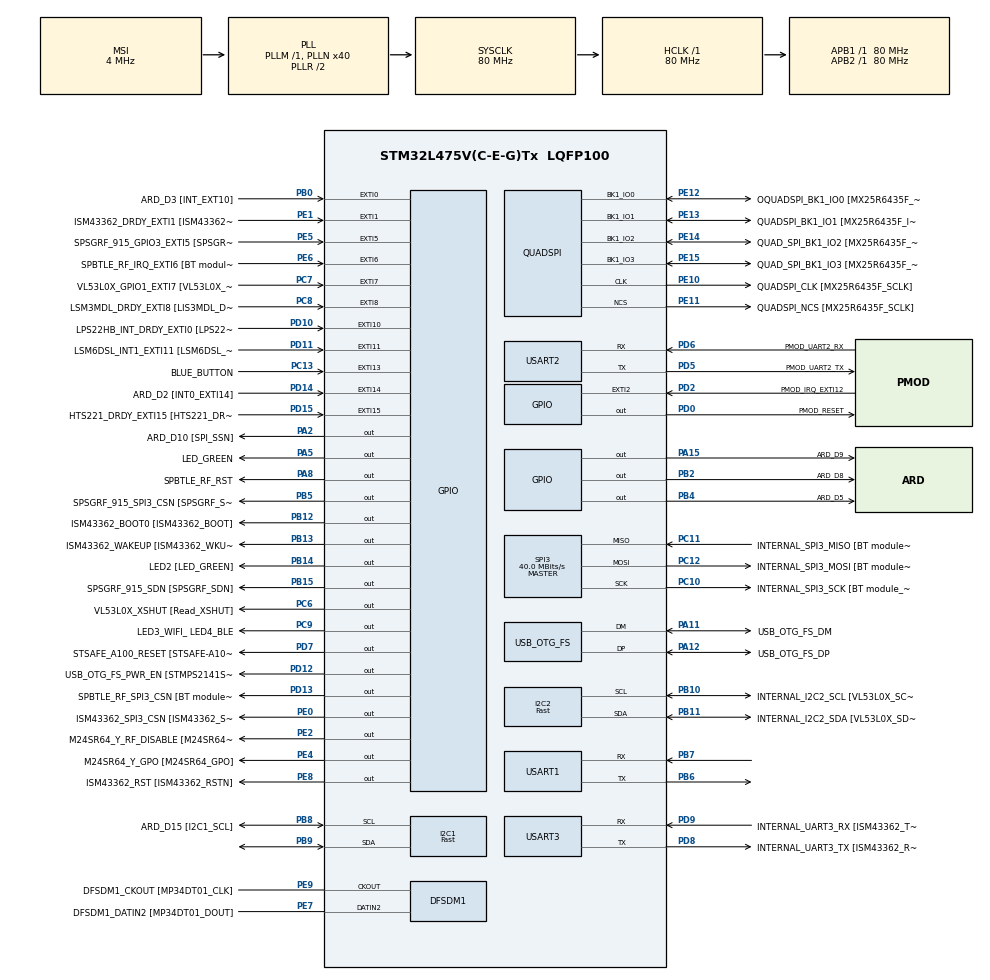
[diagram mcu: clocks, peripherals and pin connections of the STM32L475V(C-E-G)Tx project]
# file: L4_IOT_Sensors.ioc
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I2C1.I2C_Speed_Mode=I2C_Fast
I2C1.Timing=0x00702991
I2C2.I2C_Speed_Mode=I2C_Fast
I2C2.Timing=0x00702991
Mcu.Family=STM32L4
Mcu.Name=STM32L475V(C-E-G)Tx
Mcu.Package=LQFP100
NVIC.EXTI15_10_IRQn=true\:0\:0\:false\:false\:true\:true\:true\:true
NVIC.EXTI9_5_IRQn=true\:0\:0\:false\:false\:true\:true\:true\:true
NVIC.PriorityGroup=NVIC_PRIORITYGROUP_4
PA0.GPIO_Label=ARD_D1 [UART4_TX]
PA0.Signal=UART4_TX
PA1.GPIO_Label=ARD_D0 [UART4_RX]
PA1.Signal=UART4_RX
PA10.GPIO_Label=USB_OTG_FS_ID
PA10.Signal=USB_OTG_FS_ID
PA11.GPIO_Label=USB_OTG_FS_DM
PA11.Mode=Device_Only
PA11.Signal=USB_OTG_FS_DM
PA12.GPIO_Label=USB_OTG_FS_DP
PA12.Mode=Device_Only
PA12.Signal=USB_OTG_FS_DP
PA13\ (JTMS-SWDIO).Mode=Serial_Wire
PA13\ (JTMS-SWDIO).Signal=SYS_JTMS-SWDIO
PA14\ (JTCK-SWCLK).Mode=Serial_Wire
PA14\ (JTCK-SWCLK).Signal=SYS_JTCK-SWCLK
PA15\ (JTDI).GPIO_Label=ARD_D9
PA15\ (JTDI).Signal=GPIO_Output
PA2.GPIO_Label=ARD_D10 [SPI_SSN]
PA2.Signal=GPIO_Output
PA3.GPIO_Label=ARD_D4
PA3.Signal=S_TIM2_CH4
PA4.GPIO_Label=ARD_D7
PA4.Signal=ADCx_IN9
PA5.GPIO_Label=LED_GREEN
PA5.Signal=GPIO_Output
PA6.GPIO_Label=ARD_D12 [SPI1_MISO]
PA6.Signal=SPI1_MISO
PA7.GPIO_Label=ARD_D11 [SPI1_MOSI]
PA7.Signal=SPI1_MOSI
PA8.GPIO_Label=SPBTLE_RF_RST
PA8.Signal=GPIO_Output
PA9.GPIO_Label=USB_OTG_FS_VBUS [STMPS2141STR_OUT]
PA9.Signal=USB_OTG_FS_VBUS
PB0.GPIO_Label=ARD_D3 [INT_EXT10]
PB0.Signal=GPXTI0
PB1.GPIO_Label=ARD_D6 [ADC1_IN6]
PB1.Signal=ADCx_IN16
PB10.GPIO_Label=INTERNAL_I2C2_SCL [VL53L0X_SCL]
PB10.GPIO_Pu=GPIO_PULLUP
PB10.Mode=I2C
PB10.Signal=I2C2_SCL
PB11.GPIO_Label=INTERNAL_I2C2_SDA [VL53L0X_SDA]
PB11.GPIO_Pu=GPIO_PULLUP
PB11.Mode=I2C
PB11.Signal=I2C2_SDA
PB12.GPIO_Label=ISM43362_BOOT0 [ISM43362_BOOT]
PB12.Signal=GPIO_Output
PB13.GPIO_Label=ISM43362_WAKEUP [ISM43362_WKUP]
PB13.Signal=GPIO_Output
PB14.GPIO_Label=LED2 [LED_GREEN]
PB14.Signal=GPIO_Output
PB15.GPIO_Label=SPSGRF_915_SDN [SPSGRF_SDN]
PB15.Signal=GPIO_Output
PB2.GPIO_Label=ARD_D8
PB2.Signal=GPIO_Output
PB4\ (NJTRST).GPIO_Label=ARD_D5
PB4\ (NJTRST).Signal=GPIO_Output
PB5.GPIO_Label=SPSGRF_915_SPI3_CSN [SPSGRF_SPI_CS]
PB5.PinState=GPIO_PIN_SET
PB5.Signal=GPIO_Output
PB6.Mode=Asynchronous
PB6.Signal=USART1_TX
PB7.Mode=Asynchronous
PB7.Signal=USART1_RX
PB8.GPIO_Label=ARD_D15 [I2C1_SCL]
PB8.Mode=I2C
PB8.Signal=I2C1_SCL
PB9.Mode=I2C
PB9.Signal=I2C1_SDA
PC0.GPIO_Label=ARD_A5 [ADC]
PC0.Signal=ADCx_IN1
PC1.GPIO_Label=ARD_A4 [ADC]
PC1.Signal=ADCx_IN2
PC10.GPIO_Label=INTERNAL_SPI3_SCK [BT module_SPI_SCLK] [ISM43362_SCK]
PC10.Mode=Full_Duplex_Master
PC10.Signal=SPI3_SCK
PC11.GPIO_Label=INTERNAL_SPI3_MISO [BT module_SPI_MISO] [ISM43362_MISO]
PC11.Mode=Full_Duplex_Master
PC11.Signal=SPI3_MISO
PC12.GPIO_Label=INTERNAL_SPI3_MOSI [BT module_SPI_MOSI] [ISM43362_MOSI]
PC12.Mode=Full_Duplex_Master
PC12.Signal=SPI3_MOSI
PC13.GPIO_Label=BLUE_BUTTON
PC13.GPIO_ModeDefaultEXTI=GPIO_MODE_IT_FALLING
PC13.GPIO_PuPd=GPIO_PULLUP
PC13.Signal=GPXTI13
PC14-OSC32_IN\ (PC14).Mode=LSE-External-Oscillator
PC14-OSC32_IN\ (PC14).Signal=RCC_OSC32_IN
PC15-OSC32_OUT\ (PC15).Mode=LSE-External-Oscillator
PC15-OSC32_OUT\ (PC15).Signal=RCC_OSC32_OUT
PC2.GPIO_Label=ARD_A3 [ADC]
PC2.Signal=ADCx_IN3
PC3.GPIO_Label=ARD_A2 [ADC]
PC3.Signal=ADCx_IN4
PC4.GPIO_Label=ARD_A1 [ADC]
PC4.Signal=ADCx_IN13
PC5.GPIO_Label=ARD_A0 [ADC]
PC5.Signal=ADCx_IN14
PC6.GPIO_Label=VL53L0X_XSHUT [Read_XSHUT]
PC6.Signal=GPIO_Output
PC7.GPIO_Label=VL53L0X_GPIO1_EXTI7 [VL53L0X_GPIO1]
PC7.Signal=GPXTI7
PC8.GPIO_Label=LSM3MDL_DRDY_EXTI8 [LIS3MDL_DRDY]
PC8.Signal=GPXTI8
PC9.GPIO_Label=LED3_WIFI_ LED4_BLE
PC9.Signal=GPIO_Output
PD0.GPIO_Label=PMOD_RESET
PD0.Signal=GPIO_Output
PD1.GPIO_Label=PMOD_SPI2_SCK
PD1.Signal=SPI2_SCK
PD10.GPIO_Label=LPS22HB_INT_DRDY_EXTI0 [LPS22HB_INT_DRDY] 
PD10.Signal=GPXTI10
PD11.GPIO_Label=LSM6DSL_INT1_EXTI11 [LSM6DSL_INT1]
PD11.Signal=GPXTI11
PD12.GPIO_Label=USB_OTG_FS_PWR_EN [STMPS2141STR_EN]
PD12.Signal=GPIO_Output
PD13.GPIO_Label=SPBTLE_RF_SPI3_CSN [BT module_SPI_CS]
PD13.PinState=GPIO_PIN_SET
PD13.Signal=GPIO_Output
PD14.GPIO_Label=ARD_D2 [INT0_EXTI14]
PD14.Signal=GPXTI14
PD15.GPIO_Label=HTS221_DRDY_EXTI15 [HTS221_DRDY]
PD15.Signal=GPXTI15
PD2.GPIO_Label=PMOD_IRQ_EXTI12
PD2.Signal=GPXTI2
PD3.GPIO_Label=PMOD_UART2_CTS
PD3.Signal=USART2_CTS
PD4.GPIO_Label=PMOD_UART2_RTS
PD4.Signal=USART2_RTS
PD5.GPIO_Label=PMOD_UART2_TX
PD5.Mode=Asynchronous
PD5.Signal=USART2_TX
PD6.GPIO_Label=PMOD_UART2_RX
PD6.Mode=Asynchronous
PD6.Signal=USART2_RX
PD7.GPIO_Label=STSAFE_A100_RESET [STSAFE-A100_RESET]
PD7.Signal=GPIO_Output
PD8.GPIO_Label=INTERNAL_UART3_TX [ISM43362_RX]
PD8.Mode=Asynchronous
PD8.Signal=USART3_TX
PD9.GPIO_Label=INTERNAL_UART3_RX [ISM43362_TX]
PD9.Mode=Asynchronous
PD9.Signal=USART3_RX
PE0.GPIO_Label=ISM43362_SPI3_CSN [ISM43362_SSN]
PE0.PinState=GPIO_PIN_SET
PE0.Signal=GPIO_Output
PE1.GPIO_Label=ISM43362_DRDY_EXTI1 [ISM43362_DATARDY]
PE1.Signal=GPXTI1
PE10.GPIO_Label=QUADSPI_CLK [MX25R6435F_SCLK]
PE10.Mode=Single Bank
PE10.Signal=QUADSPI_CLK
PE11.GPIO_Label=QUADSPI_NCS [MX25R6435F_SCLK]
PE11.Mode=Single Bank
PE11.Signal=QUADSPI_NCS
PE12.GPIO_Label=OQUADSPI_BK1_IO0 [MX25R6435F_IO0]
PE12.Mode=Single Bank
PE12.Signal=QUADSPI_BK1_IO0
PE13.GPIO_Label=QUADSPI_BK1_IO1 [MX25R6435F_IO1]
PE13.Mode=Single Bank
PE13.Signal=QUADSPI_BK1_IO1
PE14.GPIO_Label=QUAD_SPI_BK1_IO2 [MX25R6435F_IO2]
PE14.Mode=Single Bank
PE14.Signal=QUADSPI_BK1_IO2
PE15.GPIO_Label=QUAD_SPI_BK1_IO3 [MX25R6435F_IO3]
PE15.Mode=Single Bank
PE15.Signal=QUADSPI_BK1_IO3
PE2.GPIO_Label=M24SR64_Y_RF_DISABLE [M24SR64_RFDIS]
PE2.Signal=GPIO_Output
PE4.GPIO_Label=M24SR64_Y_GPO [M24SR64_GPO]
PE4.Signal=GPIO_Output
PE5.GPIO_Label=SPSGRF_915_GPIO3_EXTI5 [SPSGRF_GPIO_3]
PE5.Signal=GPXTI5
PE6.GPIO_Label=SPBTLE_RF_IRQ_EXTI6 [BT module_SPI_IRQ]
PE6.Signal=GPXTI6
PE7.GPIO_Label=DFSDM1_DATIN2 [MP34DT01_DOUT]
PE7.Signal=S_DATAIN2DFSDM1
PE8.GPIO_Label=ISM43362_RST [ISM43362_RSTN]
PE8.Signal=GPIO_Output
PE9.GPIO_Label=DFSDM1_CKOUT [MP34DT01_CLK]
PE9.Signal=S_CKOUTDFSDM1
ProjectManager.HeapSize=0x200
ProjectManager.StackSize=0x400
ProjectManager.TargetToolchain=STM32CubeIDE
QUADSPI.ClockPrescaler=2
QUADSPI.FifoThreshold=4
QUADSPI.FlashSize=23
QUADSPI.SampleShifting=QSPI_SAMPLE_SHIFTING_HALFCYCLE
RCC.ADCFreq_Value=48000000
RCC.AHBFreq_Value=80000000
RCC.APB1Freq_Value=80000000
RCC.APB1TimFreq_Value=80000000
RCC.APB2Freq_Value=80000000
RCC.APB2TimFreq_Value=80000000
RCC.CortexFreq_Value=80000000
RCC.HCLKFreq_Value=80000000
RCC.HSE_VALUE=8000000
RCC.HSI_VALUE=16000000
RCC.MSI_VALUE=4000000
RCC.PLLN=40
RCC.PLLSAI1N=24
RCC.SYSCLKFreq_VALUE=80000000
RCC.SYSCLKSource=RCC_SYSCLKSOURCE_PLLCLK
RCC.USBFreq_Value=48000000
RCC.VCOOutputFreq_Value=160000000
SH.ADCx_IN1.0=ADC1_IN1
SH.ADCx_IN13.0=ADC1_IN13
SH.ADCx_IN14.0=ADC1_IN14
SH.ADCx_IN16.0=ADC1_IN16
SH.ADCx_IN2.0=ADC1_IN2
SH.ADCx_IN3.0=ADC1_IN3
SH.ADCx_IN4.0=ADC1_IN4
SH.ADCx_IN9.0=ADC1_IN9
SH.S_CKOUTDFSDM1.0=DFSDM1_CKOUT,CKOUT
SH.S_CKOUTDFSDM1.1=DFSDM1_CKOUT,PDM_SPI_Input_from_ch12_and_Internal_Clock
SH.S_DATAIN2DFSDM1.0=DFSDM1_DATIN2,PDM_SPI_Input_from_ch12_and_Internal_Clock
SH.S_TIM2_CH4.0=TIM2_CH4
SPI3.CalculateBaudRate=40.0 MBits/s
SPI3.Direction=SPI_DIRECTION_2LINES
SPI3.Mode=SPI_MODE_MASTER
SPI3.VirtualType=VM_MASTER
USART1.VirtualMode-Asynchronous=VM_ASYNC
USART2.VirtualMode-Asynchronous=VM_ASYNC
USART3.VirtualMode-Asynchronous=VM_ASYNC
USB_OTG_FS.VirtualMode=Device_Only
board=B-L475E-IOT01A1

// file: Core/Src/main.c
/* USER CODE BEGIN Header */
/**
 ******************************************************************************
 * @file           : main.c
 * @brief          : Main program body
 ******************************************************************************
 * @attention
 *
 * Copyright (c) 2022 STMicroelectronics.
 * All rights reserved.
 *
 * This software is licensed under terms that can be found in the LICENSE file
 * in the root directory of this software component.
 * If no LICENSE file comes with this software, it is provided AS-IS.
 *
 ******************************************************************************
 */
/* USER CODE END Header */
#include "main.h"

/* USER CODE BEGIN Includes */

// Display oled I2C
#include "ssd1306.h"
#include "ssd1306_tests.h"

// Drivers
#include "stm32l475e_iot01.h"
#include <math.h>
#include <stdio.h>
#include "stdbool.h"

// Temperature sensor
#include "stm32l475e_iot01_tsensor.h"

// Accelerometer sensor
#include "stm32l475e_iot01_accelero.h"

// valor rms
#include "valorRMS.h"

/* USER CODE END Includes */

DFSDM_Channel_HandleTypeDef hdfsdm1_channel1;

I2C_HandleTypeDef hi2c1;
I2C_HandleTypeDef hi2c2;

QSPI_HandleTypeDef hqspi;

SPI_HandleTypeDef hspi3;

UART_HandleTypeDef huart1;
UART_HandleTypeDef huart2;
UART_HandleTypeDef huart3;

PCD_HandleTypeDef hpcd_USB_OTG_FS;

/* USER CODE BEGIN PV */

// Temperature sensor
float temp_value = 0;   // Measured temperature value
char str_tmp[100] = ""; // Formatted message to display the temperature value
char str_tmp2[100] = "";
char min_temp[10] = "";
char max_temp[10] = "";
char min_acx[10] = "";
char max_acx[10] = "";
char min_acy[10] = "";
char max_acy[10] = "";
char min_acz[10] = "";
char max_acz[10] = "";
char str_acx[100] = "";
char str_acy[100] = "";
char str_acz[100] = "";
uint8_t msg1[] = "****** Temperature values measurement ******\n\n\r";
uint8_t msg2[] = "=====> Initialize Temperature sensor HTS221 \r\n";
uint8_t msg3[] = "=====> Temperature sensor HTS221 initialized \r\n ";

// Accelerometer sensor
int16_t acelerometer_value[3] = {0}; // Measured gyroscope value
char str_acel1[100] = "";            // Formatted message to display the gyroscope value
char str_acel2[100] = "";            // Formatted message to display the gyroscope value
char str_acel3[100] = "";            // Formatted message to display the gyroscope value
uint8_t msg7[] = "****** Acelerometer values measurement ******\n\n\r";
uint8_t msg8[] = "=====> Initialize Acelerometer sensor HTS221 \r\n";
uint8_t msg9[] = "=====> Acelerometer sensor LSM6DSL initialized \r\n ";

// Interruptions

bool flag = false;
/* USER CODE END PV */

void SystemClock_Config(void);
static void MX_GPIO_Init(void);
static void MX_DFSDM1_Init(void);
static void MX_QUADSPI_Init(void);
static void MX_SPI3_Init(void);
static void MX_USART3_UART_Init(void);
static void MX_USB_OTG_FS_PCD_Init(void);
static void MX_I2C1_Init(void);
static void MX_USART1_UART_Init(void);
static void MX_I2C2_Init(void);
static void MX_USART2_UART_Init(void);

int main(void)
{

  /* MCU Configuration--------------------------------------------------------*/

  /* Reset of all peripherals, Initializes the Flash interface and the Systick. */
  HAL_Init();

  /* Configure the system clock */
  SystemClock_Config();

  /* Initialize all configured peripherals */
  MX_GPIO_Init();
  MX_DFSDM1_Init();
  MX_QUADSPI_Init();
  MX_SPI3_Init();
  MX_USART3_UART_Init();
  MX_USB_OTG_FS_PCD_Init();
  MX_I2C1_Init();
  MX_USART1_UART_Init();
  MX_I2C2_Init();
  MX_USART2_UART_Init();
  /* USER CODE BEGIN 2 */

  // Temperature Sensor
  HAL_UART_Transmit(&huart1, msg1, sizeof(msg1), 1000);
  HAL_UART_Transmit(&huart1, msg2, sizeof(msg2), 1000);
  BSP_TSENSOR_Init();
  HAL_UART_Transmit(&huart1, msg3, sizeof(msg3), 1000);

  // Accelerometer Sensor
  HAL_UART_Transmit(&huart1, msg7, sizeof(msg7), 1000);
  HAL_UART_Transmit(&huart1, msg8, sizeof(msg8), 1000);
  BSP_ACCELERO_Init();
  HAL_UART_Transmit(&huart1, msg9, sizeof(msg9), 1000);

  // Display oled i2c
  ssd1306_Init();

  /* USER CODE END 2 */

  /* Infinite loop */
  /* USER CODE BEGIN WHILE */

  float buf_temp[10] = {};
  float buf_ac[3][10] = {};
  int i = 0, j = 0;
  bool fullArray1 = false, fullArray2 = false;
  float new_temp = 0;
  float new_acX = 0;
  float new_acY = 0;
  float new_acZ = 0;

  while (1)
  {
	  float min = buf_temp[0], max = buf_temp[0];

    /* USER CODE END WHILE */

    /* USER CODE BEGIN 3 */
    // InterrupÃ§Ã£o

      // Temperature Sensor
      temp_value = BSP_TSENSOR_ReadTemp();
      int tmpInt1 = temp_value;
      float tmpFrac = temp_value - tmpInt1;
      int tmpInt2 = trunc(tmpFrac * 100);
     // snprintf(str_tmp, 100, " TEMPERATURE = %d.%02d\n\r", tmpInt1, tmpInt2);
     // HAL_UART_Transmit(&huart1, (uint8_t *)str_tmp, sizeof(str_tmp), 1000);
      if (flag == false){
      // Valores em RMS
      //  Criação do buffer de temperatura

      buf_temp[i] = temp_value;
      //float min = buf_temp[0], max = buf_temp[0];
      i++;

      if (fullArray1)
      {
        new_temp = valorRMS(buf_temp, 10);
      }
      else
      {
        new_temp = valorRMS(buf_temp, i);
      }
      if (i == 10)
      {
        i = 0;
        fullArray1 = true;
      }
      if (buf_temp[i] > max)
      {
        max = buf_temp[i];
      }
      if (buf_temp[i] < min)
      {
        min = buf_temp[i];
      }

      int min1 = min;
      float minFrac = min - min1;
      int min2 = trunc(minFrac * 100);

      int max1 = max;
      float maxFrac = max - max1;
      int max2 = trunc(maxFrac * 100);

      snprintf(str_tmp2, 100, "RMS = %d.%02d\n\r", tmpInt1, tmpInt2);
      snprintf(min_temp, 100, "MIN = %d.%02d\n\r", min1, min2);
      snprintf(max_temp, 100, "MAX = %d.%02d\n\r", max1, max2);
      HAL_UART_Transmit(&huart1, (uint8_t *)str_tmp2, sizeof(str_tmp2), 1000);
      HAL_UART_Transmit(&huart1, (uint8_t *)min_temp, sizeof(str_tmp2), 1000);
      HAL_UART_Transmit(&huart1, (uint8_t *)max_temp, sizeof(str_tmp2), 1000);

      // Accelerometer Sensor
      BSP_ACCELERO_AccGetXYZ(acelerometer_value);// se ligar nisso aqui. acelerometer_value já é inteiro
      int acelXInt1 = acelerometer_value[0];
      float acelXFrac = acelerometer_value[0] - acelXInt1;
      int acelXInt2 = trunc(acelXFrac * 100);

      int acelYInt1 = acelerometer_value[1];
      float acelYFrac = acelerometer_value[1] - acelYInt1;
      int acelYInt2 = trunc(acelYFrac * 100);

      int acelZInt1 = acelerometer_value[2];
      float acelZFrac = acelerometer_value[2] - acelZInt1;
      int acelZInt2 = trunc(acelZFrac * 100);

      snprintf(str_acel1, 100, " ACEL_X = %d.%02d\n\r", acelXInt1, acelXInt2);
      snprintf(str_acel2, 100, " ACEL_Y = %d.%02d\n\r", acelYInt1, acelYInt2);
      snprintf(str_acel3, 100, " ACEL_Z = %d.%02d\n\n\r", acelZInt1, acelZInt2);
      HAL_UART_Transmit(&huart1, (uint8_t *)str_acel1, sizeof(str_acel1), 1000);
      HAL_UART_Transmit(&huart1, (uint8_t *)str_acel2, sizeof(str_acel2), 1000);
      HAL_UART_Transmit(&huart1, (uint8_t *)str_acel3, sizeof(str_acel3), 1000);

      // CriaÃ§Ã£o do buffer do acelerometro x,y,z

      int min_ax = buf_ac[0][j], max_ax = buf_ac[0][j];
      int min_ay = buf_ac[1][j], max_ay = buf_ac[1][j];
      int min_az = buf_ac[2][j], max_az = buf_ac[2][j];

      buf_ac[0][j] = acelerometer_value[0];
      buf_ac[1][j] = acelerometer_value[1];
      buf_ac[2][j] = acelerometer_value[2];
      j++;

      if (fullArray2)
      {
        new_acX = valorRMS(buf_ac[0], 10);
        new_acY = valorRMS(buf_ac[1], 10);
        new_acZ = valorRMS(buf_ac[2], 10);
      }
      else
      {
        new_acX = valorRMS(buf_ac[0], j);
        new_acY = valorRMS(buf_ac[1], j);
        new_acZ = valorRMS(buf_ac[2], j);
      }

      if (j == 10)
      {
        j = 0;
        fullArray2 = true;
      }

      // min-max eixo x
      if (buf_ac[0][j] > max_ax){
        max_ax = buf_ac[0][j];
      }
      if (buf_ac[0][j] < min_ax){
        min_ax = buf_ac[0][j];
      }

      snprintf(min_acx, 100, "MIN=%d\n\r", min_ax);
      snprintf(max_acx, 100, "MAX=%d\n\r",max_ax);

      // min-max eixo y
      if (buf_ac[0][j] > max_ay){
    	  max_ay = buf_ac[0][j];
      }
      if (buf_ac[0][j] < min_ay){
    	  min_ay = buf_ac[0][j];
      }

      snprintf(min_acy, 100, "MIN=%d\n\r", min_ay);
      snprintf(max_acy, 100, "MAX=%d\n\r",max_ay);

      // min-max eixo y
      if (buf_ac[0][j] > max_ay){
    	  max_az = buf_ac[0][j];
      }
      if (buf_ac[0][j] < min_ay){
         min_az = buf_ac[0][j];
      }

      snprintf(min_acz, 100, "MIN=%d\n\r", min_az);
      snprintf(max_acz, 100, "MAX=%d\n\r",max_az);

      int acx = new_acX;
      float acxFrac = acx - new_acX;
      int rmsAcx = trunc(acxFrac * 100);

      int acy = new_acY;
      float acyFrac = acy - new_acY;
      int rmsAcy = trunc(acyFrac * 100);

      int acz = new_acZ;
      float aczFrac = acx - new_acX;
      int rmsAcz = trunc(aczFrac * 100);

      snprintf(str_acx, 100, " RMS_X = %d.%02d\n\n\r", acx, rmsAcx);
      snprintf(str_acy, 100, " RMS_Y = %d.%02d\n\n\r", acy, rmsAcy);
      snprintf(str_acz, 100, " RMS_Z = %d.%02d\n\n\r", acz, rmsAcz);

      // Display oled i2c

      ssd1306_Fill(White);
      ssd1306_SetCursor(0, 10);
      ssd1306_WriteString("TEMPERATURAbla", Font_6x8, Black);
      ssd1306_SetCursor(0, 20);
      ssd1306_WriteString(str_tmp2, Font_6x8, Black);
      ssd1306_SetCursor(0, 30);
      ssd1306_WriteString(min_temp, Font_6x8, Black);
      ssd1306_SetCursor(0, 40);
      ssd1306_WriteString(max_temp, Font_6x8, Black);
      ssd1306_UpdateScreen();
      HAL_Delay(2000);

      ssd1306_Fill(White);
      ssd1306_SetCursor(0, 10);
      ssd1306_WriteString("ACELERACAO X:", Font_6x8, Black);
      ssd1306_SetCursor(0, 20);
      ssd1306_WriteString(str_acx, Font_6x8, Black);
      ssd1306_SetCursor(0, 30);
      ssd1306_WriteString(min_acx, Font_6x8, Black);
      ssd1306_SetCursor(0, 40);
      ssd1306_WriteString(max_acx, Font_6x8, Black);
      ssd1306_UpdateScreen();
      HAL_Delay(2000);

      ssd1306_Fill(White);
      ssd1306_SetCursor(0, 10);
      ssd1306_WriteString("ACELERACAO Y:", Font_6x8, Black);
      ssd1306_SetCursor(0, 20);
      ssd1306_WriteString(str_acy, Font_6x8, Black);
      ssd1306_SetCursor(0, 30);
      ssd1306_WriteString(min_acy, Font_6x8, Black);
      ssd1306_SetCursor(0, 40);
      ssd1306_WriteString(max_acy, Font_6x8, Black);
      ssd1306_UpdateScreen();
      HAL_Delay(2000);

      ssd1306_Fill(White);
      ssd1306_SetCursor(0, 10);
      ssd1306_WriteString("ACELERACAO Z:", Font_6x8, Black);
      ssd1306_SetCursor(0, 20);
      ssd1306_WriteString(str_acz, Font_6x8, Black);
      ssd1306_SetCursor(0, 30);
      ssd1306_WriteString(min_acz, Font_6x8, Black);
      ssd1306_SetCursor(0, 40);
      ssd1306_WriteString(max_acz, Font_6x8, Black);
      ssd1306_UpdateScreen();
      HAL_Delay(2000);
    }
    else
    {

      temp_value = 0;
      tmpInt1 = 0;
      tmpInt2 = 0;
      snprintf(min_temp, 100, "MIN = %d.%02d\n\r", 0, 0);
      snprintf(max_temp, 100, "MAX = %d.%02d\n\r", 0, 0);
      snprintf(min_acx, 100, "MIN=%d\n\r", 0);
      snprintf(max_acx, 100, "MAX=%d\n\r",0);
      snprintf(min_acy, 100, "MIN=%d\n\r",0);
      snprintf(max_acy, 100, "MAX=%d\n\r",0);
      snprintf(min_acz, 100, "MIN=%d\n\r", 0);
      snprintf(max_acz, 100, "MAX=%d\n\r",0);

      ssd1306_Fill(White);
      ssd1306_SetCursor(0, 10);
      ssd1306_WriteString("TEMPERATURA", Font_6x8, Black);
      ssd1306_SetCursor(0, 20);
      ssd1306_WriteString(min_temp, Font_6x8, Black);
      ssd1306_SetCursor(0, 30);
      ssd1306_WriteString(max_temp, Font_6x8, Black);
      ssd1306_UpdateScreen();
      ssd1306_SetCursor(0, 10);
      ssd1306_WriteString("ACELERACAO X:", Font_6x8, Black);
      ssd1306_SetCursor(0, 20);
      ssd1306_WriteString(min_acx, Font_6x8, Black);
      ssd1306_SetCursor(0,30);
      ssd1306_WriteString(max_acx, Font_6x8, Black);
      HAL_Delay(2000);
      ssd1306_UpdateScreen();
      ssd1306_SetCursor(0, 10);
      ssd1306_WriteString("ACELERACAO Y:", Font_6x8, Black);
      ssd1306_SetCursor(0, 20);
      ssd1306_WriteString(min_acy, Font_6x8, Black);
      ssd1306_SetCursor(0, 30);
      ssd1306_WriteString(max_acy, Font_6x8, Black);
      HAL_Delay(2000);
      ssd1306_UpdateScreen();
      ssd1306_SetCursor(0, 10);
      ssd1306_WriteString("ACELERACAO Z:", Font_6x8, Black);
      ssd1306_SetCursor(0, 20);
      ssd1306_WriteString(min_acz, Font_6x8, Black);
      ssd1306_SetCursor(0, 30);
      ssd1306_WriteString(max_acz, Font_6x8, Black);
      HAL_Delay(2000);
      ssd1306_UpdateScreen();
    }
  }
}
  /* USER CODE END 3 */

void SystemClock_Config(void)
{
  RCC_OscInitTypeDef RCC_OscInitStruct = {0};
  RCC_ClkInitTypeDef RCC_ClkInitStruct = {0};

  /** Configure the main internal regulator output voltage
  */
  if (HAL_PWREx_ControlVoltageScaling(PWR_REGULATOR_VOLTAGE_SCALE1) != HAL_OK)
  {
    Error_Handler();
  }

  /** Configure LSE Drive Capability
  */
  HAL_PWR_EnableBkUpAccess();
  __HAL_RCC_LSEDRIVE_CONFIG(RCC_LSEDRIVE_LOW);

  /** Initializes the RCC Oscillators according to the specified parameters
  * in the RCC_OscInitTypeDef structure.
  */
  RCC_OscInitStruct.OscillatorType = RCC_OSCILLATORTYPE_LSE|RCC_OSCILLATORTYPE_MSI;
  RCC_OscInitStruct.LSEState = RCC_LSE_ON;
  RCC_OscInitStruct.MSIState = RCC_MSI_ON;
  RCC_OscInitStruct.MSICalibrationValue = 0;
  RCC_OscInitStruct.MSIClockRange = RCC_MSIRANGE_6;
  RCC_OscInitStruct.PLL.PLLState = RCC_PLL_ON;
  RCC_OscInitStruct.PLL.PLLSource = RCC_PLLSOURCE_MSI;
  RCC_OscInitStruct.PLL.PLLM = 1;
  RCC_OscInitStruct.PLL.PLLN = 40;
  RCC_OscInitStruct.PLL.PLLP = RCC_PLLP_DIV7;
  RCC_OscInitStruct.PLL.PLLQ = RCC_PLLQ_DIV2;
  RCC_OscInitStruct.PLL.PLLR = RCC_PLLR_DIV2;
  if (HAL_RCC_OscConfig(&RCC_OscInitStruct) != HAL_OK)
  {
    Error_Handler();
  }

  /** Initializes the CPU, AHB and APB buses clocks
  */
  RCC_ClkInitStruct.ClockType = RCC_CLOCKTYPE_HCLK|RCC_CLOCKTYPE_SYSCLK
                              |RCC_CLOCKTYPE_PCLK1|RCC_CLOCKTYPE_PCLK2;
  RCC_ClkInitStruct.SYSCLKSource = RCC_SYSCLKSOURCE_PLLCLK;
  RCC_ClkInitStruct.AHBCLKDivider = RCC_SYSCLK_DIV1;
  RCC_ClkInitStruct.APB1CLKDivider = RCC_HCLK_DIV1;
  RCC_ClkInitStruct.APB2CLKDivider = RCC_HCLK_DIV1;

  if (HAL_RCC_ClockConfig(&RCC_ClkInitStruct, FLASH_LATENCY_4) != HAL_OK)
  {
    Error_Handler();
  }

  /** Enable MSI Auto calibration
  */
  HAL_RCCEx_EnableMSIPLLMode();
}

static void MX_DFSDM1_Init(void)
{

  hdfsdm1_channel1.Instance = DFSDM1_Channel1;
  hdfsdm1_channel1.Init.OutputClock.Activation = ENABLE;
  hdfsdm1_channel1.Init.OutputClock.Selection = DFSDM_CHANNEL_OUTPUT_CLOCK_SYSTEM;
  hdfsdm1_channel1.Init.OutputClock.Divider = 2;
  hdfsdm1_channel1.Init.Input.Multiplexer = DFSDM_CHANNEL_EXTERNAL_INPUTS;
  hdfsdm1_channel1.Init.Input.DataPacking = DFSDM_CHANNEL_STANDARD_MODE;
  hdfsdm1_channel1.Init.Input.Pins = DFSDM_CHANNEL_FOLLOWING_CHANNEL_PINS;
  hdfsdm1_channel1.Init.SerialInterface.Type = DFSDM_CHANNEL_SPI_RISING;
  hdfsdm1_channel1.Init.SerialInterface.SpiClock = DFSDM_CHANNEL_SPI_CLOCK_INTERNAL;
  hdfsdm1_channel1.Init.Awd.FilterOrder = DFSDM_CHANNEL_FASTSINC_ORDER;
  hdfsdm1_channel1.Init.Awd.Oversampling = 1;
  hdfsdm1_channel1.Init.Offset = 0;
  hdfsdm1_channel1.Init.RightBitShift = 0x00;
  if (HAL_DFSDM_ChannelInit(&hdfsdm1_channel1) != HAL_OK)
  {
    Error_Handler();
  }

}

static void MX_I2C1_Init(void)
{

  hi2c1.Instance = I2C1;
  hi2c1.Init.Timing = 0x00702991;
  hi2c1.Init.OwnAddress1 = 0;
  hi2c1.Init.AddressingMode = I2C_ADDRESSINGMODE_7BIT;
  hi2c1.Init.DualAddressMode = I2C_DUALADDRESS_DISABLE;
  hi2c1.Init.OwnAddress2 = 0;
  hi2c1.Init.OwnAddress2Masks = I2C_OA2_NOMASK;
  hi2c1.Init.GeneralCallMode = I2C_GENERALCALL_DISABLE;
  hi2c1.Init.NoStretchMode = I2C_NOSTRETCH_DISABLE;
  if (HAL_I2C_Init(&hi2c1) != HAL_OK)
  {
    Error_Handler();
  }

  /** Configure Analogue filter
  */
  if (HAL_I2CEx_ConfigAnalogFilter(&hi2c1, I2C_ANALOGFILTER_ENABLE) != HAL_OK)
  {
    Error_Handler();
  }

  /** Configure Digital filter
  */
  if (HAL_I2CEx_ConfigDigitalFilter(&hi2c1, 0) != HAL_OK)
  {
    Error_Handler();
  }

}

static void MX_I2C2_Init(void)
{

  hi2c2.Instance = I2C2;
  hi2c2.Init.Timing = 0x00702991;
  hi2c2.Init.OwnAddress1 = 0;
  hi2c2.Init.AddressingMode = I2C_ADDRESSINGMODE_7BIT;
  hi2c2.Init.DualAddressMode = I2C_DUALADDRESS_DISABLE;
  hi2c2.Init.OwnAddress2 = 0;
  hi2c2.Init.OwnAddress2Masks = I2C_OA2_NOMASK;
  hi2c2.Init.GeneralCallMode = I2C_GENERALCALL_DISABLE;
  hi2c2.Init.NoStretchMode = I2C_NOSTRETCH_DISABLE;
  if (HAL_I2C_Init(&hi2c2) != HAL_OK)
  {
    Error_Handler();
  }

  /** Configure Analogue filter
  */
  if (HAL_I2CEx_ConfigAnalogFilter(&hi2c2, I2C_ANALOGFILTER_ENABLE) != HAL_OK)
  {
    Error_Handler();
  }

  /** Configure Digital filter
  */
  if (HAL_I2CEx_ConfigDigitalFilter(&hi2c2, 0) != HAL_OK)
  {
    Error_Handler();
  }

}

static void MX_QUADSPI_Init(void)
{

  /* QUADSPI parameter configuration*/
  hqspi.Instance = QUADSPI;
  hqspi.Init.ClockPrescaler = 2;
  hqspi.Init.FifoThreshold = 4;
  hqspi.Init.SampleShifting = QSPI_SAMPLE_SHIFTING_HALFCYCLE;
  hqspi.Init.FlashSize = 23;
  hqspi.Init.ChipSelectHighTime = QSPI_CS_HIGH_TIME_1_CYCLE;
  hqspi.Init.ClockMode = QSPI_CLOCK_MODE_0;
  if (HAL_QSPI_Init(&hqspi) != HAL_OK)
  {
    Error_Handler();
  }

}

static void MX_SPI3_Init(void)
{

  /* SPI3 parameter configuration*/
  hspi3.Instance = SPI3;
  hspi3.Init.Mode = SPI_MODE_MASTER;
  hspi3.Init.Direction = SPI_DIRECTION_2LINES;
  hspi3.Init.DataSize = SPI_DATASIZE_4BIT;
  hspi3.Init.CLKPolarity = SPI_POLARITY_LOW;
  hspi3.Init.CLKPhase = SPI_PHASE_1EDGE;
  hspi3.Init.NSS = SPI_NSS_SOFT;
  hspi3.Init.BaudRatePrescaler = SPI_BAUDRATEPRESCALER_2;
  hspi3.Init.FirstBit = SPI_FIRSTBIT_MSB;
  hspi3.Init.TIMode = SPI_TIMODE_DISABLE;
  hspi3.Init.CRCCalculation = SPI_CRCCALCULATION_DISABLE;
  hspi3.Init.CRCPolynomial = 7;
  hspi3.Init.CRCLength = SPI_CRC_LENGTH_DATASIZE;
  hspi3.Init.NSSPMode = SPI_NSS_PULSE_ENABLE;
  if (HAL_SPI_Init(&hspi3) != HAL_OK)
  {
    Error_Handler();
  }

}

static void MX_USART1_UART_Init(void)
{

  huart1.Instance = USART1;
  huart1.Init.BaudRate = 115200;
  huart1.Init.WordLength = UART_WORDLENGTH_8B;
  huart1.Init.StopBits = UART_STOPBITS_1;
  huart1.Init.Parity = UART_PARITY_NONE;
  huart1.Init.Mode = UART_MODE_TX_RX;
  huart1.Init.HwFlowCtl = UART_HWCONTROL_NONE;
  huart1.Init.OverSampling = UART_OVERSAMPLING_16;
  huart1.Init.OneBitSampling = UART_ONE_BIT_SAMPLE_DISABLE;
  huart1.AdvancedInit.AdvFeatureInit = UART_ADVFEATURE_NO_INIT;
  if (HAL_UART_Init(&huart1) != HAL_OK)
  {
    Error_Handler();
  }

}

static void MX_USART2_UART_Init(void)
{

  huart2.Instance = USART2;
  huart2.Init.BaudRate = 115200;
  huart2.Init.WordLength = UART_WORDLENGTH_8B;
  huart2.Init.StopBits = UART_STOPBITS_1;
  huart2.Init.Parity = UART_PARITY_NONE;
  huart2.Init.Mode = UART_MODE_TX_RX;
  huart2.Init.HwFlowCtl = UART_HWCONTROL_NONE;
  huart2.Init.OverSampling = UART_OVERSAMPLING_16;
  huart2.Init.OneBitSampling = UART_ONE_BIT_SAMPLE_DISABLE;
  huart2.AdvancedInit.AdvFeatureInit = UART_ADVFEATURE_NO_INIT;
  if (HAL_UART_Init(&huart2) != HAL_OK)
  {
    Error_Handler();
  }

}

static void MX_USART3_UART_Init(void)
{

  huart3.Instance = USART3;
  huart3.Init.BaudRate = 115200;
  huart3.Init.WordLength = UART_WORDLENGTH_8B;
  huart3.Init.StopBits = UART_STOPBITS_1;
  huart3.Init.Parity = UART_PARITY_NONE;
  huart3.Init.Mode = UART_MODE_TX_RX;
  huart3.Init.HwFlowCtl = UART_HWCONTROL_NONE;
  huart3.Init.OverSampling = UART_OVERSAMPLING_16;
  huart3.Init.OneBitSampling = UART_ONE_BIT_SAMPLE_DISABLE;
  huart3.AdvancedInit.AdvFeatureInit = UART_ADVFEATURE_NO_INIT;
  if (HAL_UART_Init(&huart3) != HAL_OK)
  {
    Error_Handler();
  }

}

static void MX_USB_OTG_FS_PCD_Init(void)
{

  hpcd_USB_OTG_FS.Instance = USB_OTG_FS;
  hpcd_USB_OTG_FS.Init.dev_endpoints = 6;
  hpcd_USB_OTG_FS.Init.speed = PCD_SPEED_FULL;
  hpcd_USB_OTG_FS.Init.phy_itface = PCD_PHY_EMBEDDED;
  hpcd_USB_OTG_FS.Init.Sof_enable = DISABLE;
  hpcd_USB_OTG_FS.Init.low_power_enable = DISABLE;
  hpcd_USB_OTG_FS.Init.lpm_enable = DISABLE;
  hpcd_USB_OTG_FS.Init.battery_charging_enable = DISABLE;
  hpcd_USB_OTG_FS.Init.use_dedicated_ep1 = DISABLE;
  hpcd_USB_OTG_FS.Init.vbus_sensing_enable = DISABLE;
  if (HAL_PCD_Init(&hpcd_USB_OTG_FS) != HAL_OK)
  {
    Error_Handler();
  }

}

static void MX_GPIO_Init(void)
{
  GPIO_InitTypeDef GPIO_InitStruct = {0};

  /* GPIO Ports Clock Enable */
  __HAL_RCC_GPIOE_CLK_ENABLE();
  __HAL_RCC_GPIOC_CLK_ENABLE();
  __HAL_RCC_GPIOA_CLK_ENABLE();
  __HAL_RCC_GPIOB_CLK_ENABLE();
  __HAL_RCC_GPIOD_CLK_ENABLE();

  /*Configure GPIO pin Output Level */
  HAL_GPIO_WritePin(GPIOE, M24SR64_Y_RF_DISABLE_Pin|M24SR64_Y_GPO_Pin|ISM43362_RST_Pin, GPIO_PIN_RESET);

  /*Configure GPIO pin Output Level */
  HAL_GPIO_WritePin(GPIOA, ARD_D10_Pin|LED_GREEN_Pin|SPBTLE_RF_RST_Pin|ARD_D9_Pin, GPIO_PIN_RESET);

  /*Configure GPIO pin Output Level */
  HAL_GPIO_WritePin(GPIOB, ARD_D8_Pin|ISM43362_BOOT0_Pin|ISM43362_WAKEUP_Pin|LED2_Pin
                          |SPSGRF_915_SDN_Pin|ARD_D5_Pin, GPIO_PIN_RESET);

  /*Configure GPIO pin Output Level */
  HAL_GPIO_WritePin(GPIOD, USB_OTG_FS_PWR_EN_Pin|PMOD_RESET_Pin|STSAFE_A100_RESET_Pin, GPIO_PIN_RESET);

  /*Configure GPIO pin Output Level */
  HAL_GPIO_WritePin(SPBTLE_RF_SPI3_CSN_GPIO_Port, SPBTLE_RF_SPI3_CSN_Pin, GPIO_PIN_SET);

  /*Configure GPIO pin Output Level */
  HAL_GPIO_WritePin(GPIOC, VL53L0X_XSHUT_Pin|LED3_WIFI__LED4_BLE_Pin, GPIO_PIN_RESET);

  /*Configure GPIO pin Output Level */
  HAL_GPIO_WritePin(SPSGRF_915_SPI3_CSN_GPIO_Port, SPSGRF_915_SPI3_CSN_Pin, GPIO_PIN_SET);

  /*Configure GPIO pin Output Level */
  HAL_GPIO_WritePin(ISM43362_SPI3_CSN_GPIO_Port, ISM43362_SPI3_CSN_Pin, GPIO_PIN_SET);

  /*Configure GPIO pins : M24SR64_Y_RF_DISABLE_Pin M24SR64_Y_GPO_Pin ISM43362_RST_Pin ISM43362_SPI3_CSN_Pin */
  GPIO_InitStruct.Pin = M24SR64_Y_RF_DISABLE_Pin|M24SR64_Y_GPO_Pin|ISM43362_RST_Pin|ISM43362_SPI3_CSN_Pin;
  GPIO_InitStruct.Mode = GPIO_MODE_OUTPUT_PP;
  GPIO_InitStruct.Pull = GPIO_NOPULL;
  GPIO_InitStruct.Speed = GPIO_SPEED_FREQ_LOW;
  HAL_GPIO_Init(GPIOE, &GPIO_InitStruct);

  /*Configure GPIO pins : SPSGRF_915_GPIO3_EXTI5_Pin SPBTLE_RF_IRQ_EXTI6_Pin ISM43362_DRDY_EXTI1_Pin */
  GPIO_InitStruct.Pin = SPSGRF_915_GPIO3_EXTI5_Pin|SPBTLE_RF_IRQ_EXTI6_Pin|ISM43362_DRDY_EXTI1_Pin;
  GPIO_InitStruct.Mode = GPIO_MODE_IT_RISING;
  GPIO_InitStruct.Pull = GPIO_NOPULL;
  HAL_GPIO_Init(GPIOE, &GPIO_InitStruct);

  /*Configure GPIO pin : BLUE_BUTTON_Pin */
  GPIO_InitStruct.Pin = BLUE_BUTTON_Pin;
  GPIO_InitStruct.Mode = GPIO_MODE_IT_FALLING;
  GPIO_InitStruct.Pull = GPIO_PULLUP;
  HAL_GPIO_Init(BLUE_BUTTON_GPIO_Port, &GPIO_InitStruct);

  /*Configure GPIO pins : ARD_A5_Pin ARD_A4_Pin ARD_A3_Pin ARD_A2_Pin
                           ARD_A1_Pin ARD_A0_Pin */
  GPIO_InitStruct.Pin = ARD_A5_Pin|ARD_A4_Pin|ARD_A3_Pin|ARD_A2_Pin
                          |ARD_A1_Pin|ARD_A0_Pin;
  GPIO_InitStruct.Mode = GPIO_MODE_ANALOG_ADC_CONTROL;
  GPIO_InitStruct.Pull = GPIO_NOPULL;
  HAL_GPIO_Init(GPIOC, &GPIO_InitStruct);

  /*Configure GPIO pins : ARD_D1_Pin ARD_D0_Pin */
  GPIO_InitStruct.Pin = ARD_D1_Pin|ARD_D0_Pin;
  GPIO_InitStruct.Mode = GPIO_MODE_AF_PP;
  GPIO_InitStruct.Pull = GPIO_NOPULL;
  GPIO_InitStruct.Speed = GPIO_SPEED_FREQ_VERY_HIGH;
  GPIO_InitStruct.Alternate = GPIO_AF8_UART4;
  HAL_GPIO_Init(GPIOA, &GPIO_InitStruct);

  /*Configure GPIO pins : ARD_D10_Pin LED_GREEN_Pin SPBTLE_RF_RST_Pin ARD_D9_Pin */
  GPIO_InitStruct.Pin = ARD_D10_Pin|LED_GREEN_Pin|SPBTLE_RF_RST_Pin|ARD_D9_Pin;
  GPIO_InitStruct.Mode = GPIO_MODE_OUTPUT_PP;
  GPIO_InitStruct.Pull = GPIO_NOPULL;
  GPIO_InitStruct.Speed = GPIO_SPEED_FREQ_LOW;
  HAL_GPIO_Init(GPIOA, &GPIO_InitStruct);

  /*Configure GPIO pin : ARD_D4_Pin */
  GPIO_InitStruct.Pin = ARD_D4_Pin;
  GPIO_InitStruct.Mode = GPIO_MODE_AF_PP;
  GPIO_InitStruct.Pull = GPIO_NOPULL;
  GPIO_InitStruct.Speed = GPIO_SPEED_FREQ_LOW;
  GPIO_InitStruct.Alternate = GPIO_AF1_TIM2;
  HAL_GPIO_Init(ARD_D4_GPIO_Port, &GPIO_InitStruct);

  /*Configure GPIO pin : ARD_D7_Pin */
  GPIO_InitStruct.Pin = ARD_D7_Pin;
  GPIO_InitStruct.Mode = GPIO_MODE_ANALOG_ADC_CONTROL;
  GPIO_InitStruct.Pull = GPIO_NOPULL;
  HAL_GPIO_Init(ARD_D7_GPIO_Port, &GPIO_InitStruct);

  /*Configure GPIO pins : ARD_D12_Pin ARD_D11_Pin */
  GPIO_InitStruct.Pin = ARD_D12_Pin|ARD_D11_Pin;
  GPIO_InitStruct.Mode = GPIO_MODE_AF_PP;
  GPIO_InitStruct.Pull = GPIO_NOPULL;
  GPIO_InitStruct.Speed = GPIO_SPEED_FREQ_VERY_HIGH;
  GPIO_InitStruct.Alternate = GPIO_AF5_SPI1;
  HAL_GPIO_Init(GPIOA, &GPIO_InitStruct);

  /*Configure GPIO pin : ARD_D3_Pin */
  GPIO_InitStruct.Pin = ARD_D3_Pin;
  GPIO_InitStruct.Mode = GPIO_MODE_IT_RISING;
  GPIO_InitStruct.Pull = GPIO_NOPULL;
  HAL_GPIO_Init(ARD_D3_GPIO_Port, &GPIO_InitStruct);

  /*Configure GPIO pin : ARD_D6_Pin */
  GPIO_InitStruct.Pin = ARD_D6_Pin;
  GPIO_InitStruct.Mode = GPIO_MODE_ANALOG_ADC_CONTROL;
  GPIO_InitStruct.Pull = GPIO_NOPULL;
  HAL_GPIO_Init(ARD_D6_GPIO_Port, &GPIO_InitStruct);

  /*Configure GPIO pins : ARD_D8_Pin ISM43362_BOOT0_Pin ISM43362_WAKEUP_Pin LED2_Pin
                           SPSGRF_915_SDN_Pin ARD_D5_Pin SPSGRF_915_SPI3_CSN_Pin */
  GPIO_InitStruct.Pin = ARD_D8_Pin|ISM43362_BOOT0_Pin|ISM43362_WAKEUP_Pin|LED2_Pin
                          |SPSGRF_915_SDN_Pin|ARD_D5_Pin|SPSGRF_915_SPI3_CSN_Pin;
  GPIO_InitStruct.Mode = GPIO_MODE_OUTPUT_PP;
  GPIO_InitStruct.Pull = GPIO_NOPULL;
  GPIO_InitStruct.Speed = GPIO_SPEED_FREQ_LOW;
  HAL_GPIO_Init(GPIOB, &GPIO_InitStruct);

  /*Configure GPIO pins : LPS22HB_INT_DRDY_EXTI0_Pin LSM6DSL_INT1_EXTI11_Pin ARD_D2_Pin HTS221_DRDY_EXTI15_Pin
                           PMOD_IRQ_EXTI12_Pin */
  GPIO_InitStruct.Pin = LPS22HB_INT_DRDY_EXTI0_Pin|LSM6DSL_INT1_EXTI11_Pin|ARD_D2_Pin|HTS221_DRDY_EXTI15_Pin
                          |PMOD_IRQ_EXTI12_Pin;
  GPIO_InitStruct.Mode = GPIO_MODE_IT_RISING;
  GPIO_InitStruct.Pull = GPIO_NOPULL;
  HAL_GPIO_Init(GPIOD, &GPIO_InitStruct);

  /*Configure GPIO pins : USB_OTG_FS_PWR_EN_Pin SPBTLE_RF_SPI3_CSN_Pin PMOD_RESET_Pin STSAFE_A100_RESET_Pin */
  GPIO_InitStruct.Pin = USB_OTG_FS_PWR_EN_Pin|SPBTLE_RF_SPI3_CSN_Pin|PMOD_RESET_Pin|STSAFE_A100_RESET_Pin;
  GPIO_InitStruct.Mode = GPIO_MODE_OUTPUT_PP;
  GPIO_InitStruct.Pull = GPIO_NOPULL;
  GPIO_InitStruct.Speed = GPIO_SPEED_FREQ_LOW;
  HAL_GPIO_Init(GPIOD, &GPIO_InitStruct);

  /*Configure GPIO pins : VL53L0X_XSHUT_Pin LED3_WIFI__LED4_BLE_Pin */
  GPIO_InitStruct.Pin = VL53L0X_XSHUT_Pin|LED3_WIFI__LED4_BLE_Pin;
  GPIO_InitStruct.Mode = GPIO_MODE_OUTPUT_PP;
  GPIO_InitStruct.Pull = GPIO_NOPULL;
  GPIO_InitStruct.Speed = GPIO_SPEED_FREQ_LOW;
  HAL_GPIO_Init(GPIOC, &GPIO_InitStruct);

  /*Configure GPIO pins : VL53L0X_GPIO1_EXTI7_Pin LSM3MDL_DRDY_EXTI8_Pin */
  GPIO_InitStruct.Pin = VL53L0X_GPIO1_EXTI7_Pin|LSM3MDL_DRDY_EXTI8_Pin;
  GPIO_InitStruct.Mode = GPIO_MODE_IT_RISING;
  GPIO_InitStruct.Pull = GPIO_NOPULL;
  HAL_GPIO_Init(GPIOC, &GPIO_InitStruct);

  /*Configure GPIO pin : PMOD_SPI2_SCK_Pin */
  GPIO_InitStruct.Pin = PMOD_SPI2_SCK_Pin;
  GPIO_InitStruct.Mode = GPIO_MODE_AF_PP;
  GPIO_InitStruct.Pull = GPIO_NOPULL;
  GPIO_InitStruct.Speed = GPIO_SPEED_FREQ_VERY_HIGH;
  GPIO_InitStruct.Alternate = GPIO_AF5_SPI2;
  HAL_GPIO_Init(PMOD_SPI2_SCK_GPIO_Port, &GPIO_InitStruct);

  /* EXTI interrupt init*/
  HAL_NVIC_SetPriority(EXTI9_5_IRQn, 0, 0);
  HAL_NVIC_EnableIRQ(EXTI9_5_IRQn);

  HAL_NVIC_SetPriority(EXTI15_10_IRQn, 0, 0);
  HAL_NVIC_EnableIRQ(EXTI15_10_IRQn);

}

/* USER CODE BEGIN 4 */
HAL_GPIO_EXTI_Callback(uint16_t GPIO_Pin)
{
  if (GPIO_Pin == BLUE_BUTTON_Pin)
  {
	//HAL_Delay(5000);
    flag = !flag;

  }

}
/* USER CODE END 4 */

void Error_Handler(void)
{
  __disable_irq();
  while (1)
  {
  }
}
